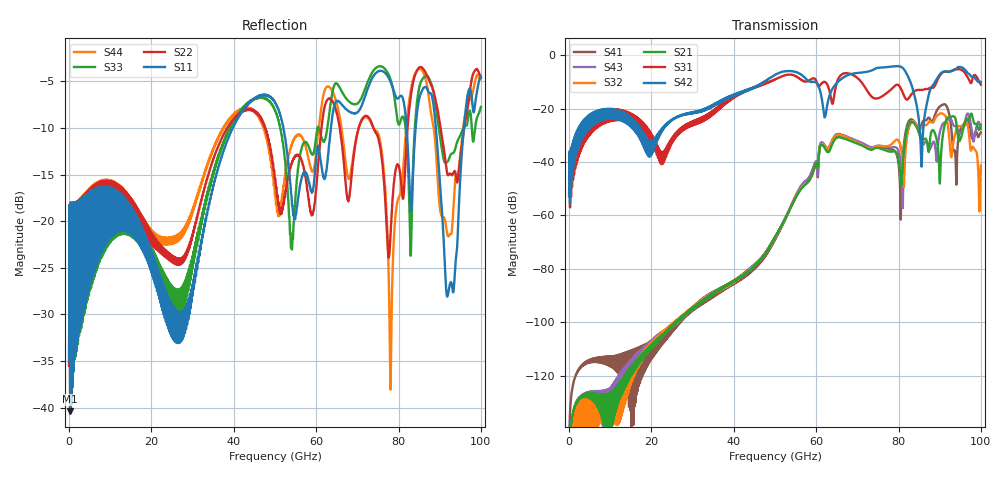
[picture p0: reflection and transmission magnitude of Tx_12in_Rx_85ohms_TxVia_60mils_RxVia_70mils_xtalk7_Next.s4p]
! Info: Touchstone file created by Circ.  Input file=Tx_12in_Rx_85ohms_TxVia_60mils_RxVia_70mils.circ
# Hz S RI R 50
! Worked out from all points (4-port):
!   10000 points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, 10 MHz to 100 GHz, reference 50 ohm
!   strongest paths, dB at 10 MHz, 25.01 GHz, 50.01 GHz, 75.01 GHz, 100 GHz:
!     S42: -52.7, -24.0, -7.4, -4.7, -10.0
!     S31: -52.8, -31.0, -9.1, -16.2, -11.1
!     S21: -167.3, -101.1, -68.0, -34.7, -26.0
!     S32: -170.4, -101.3, -68.1, -34.0, -41.3
!     S43: -154.6, -101.5, -68.2, -33.9, -27.5
!     S41: -150.4, -101.8, -68.8, -34.4, -29.0
!   lowest |S11| = -40.4 dB at 260 MHz (marker M1), VSWR 1.02, Z = 49.2 + j0.575 ohm
!   |S11| at or under -10 dB: start of sweep to 39.7 GHz; 52.01 GHz to 63.58 GHz (11.57 GHz wide, 20 % of centre); 89.07 GHz to 95.86 GHz (6.791 GHz wide, 7.34 % of centre) (the widest 3 of 4)
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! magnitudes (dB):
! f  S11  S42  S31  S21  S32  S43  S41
! 10 MHz  -34.9  -52.7  -52.8  -167.3  -170.4  -154.6  -150.4
! 260 MHz  -40.4  -44.4  -44.5  -143.3  -146.0  -142.9  -132.9
! 44.94 GHz  -6.8  -12.2  -12.2  -79.0  -79.0  -78.6  -79.8
! 65.19 GHz  -7.1  -10.1  -9.5  -30.8  -29.8  -29.5  -30.5
! 78.07 GHz  -5.0  -4.3  -13.0  -36.2  -33.6  -34.6  -35.2
! 85.57 GHz  -6.1  -41.6  -13.1  -31.8  -27.4  -31.1  -26.3
! 100 GHz  -4.4  -10.0  -11.1  -26.0  -41.3  -27.5  -29.0
